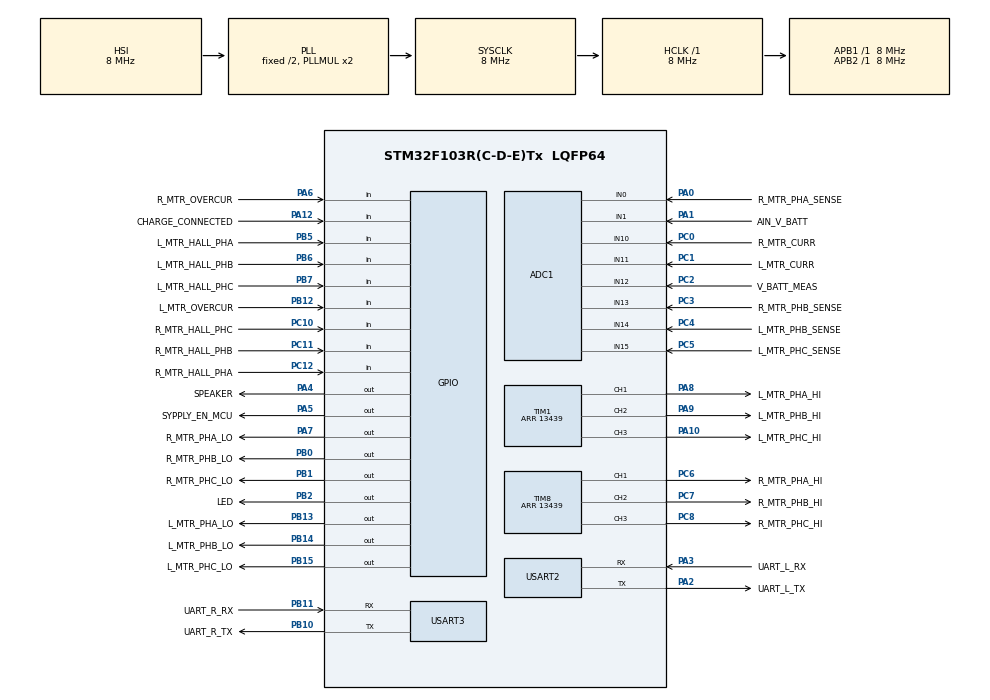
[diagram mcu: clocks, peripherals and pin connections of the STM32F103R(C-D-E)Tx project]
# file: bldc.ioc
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ADC1.Channel-3\#ChannelRegularConversion=ADC_CHANNEL_12
ADC1.NbrOfConversionFlag=1
ADC1.Rank-3\#ChannelRegularConversion=1
ADC1.SamplingTime-3\#ChannelRegularConversion=ADC_SAMPLETIME_239CYCLES_5
ADC1.master=1
Dma.ADC1.0.Direction=DMA_PERIPH_TO_MEMORY
Dma.ADC1.0.Instance=DMA1_Channel1
Dma.ADC1.0.MemDataAlignment=DMA_MDATAALIGN_HALFWORD
Dma.ADC1.0.MemInc=DMA_MINC_ENABLE
Dma.ADC1.0.Mode=DMA_NORMAL
Dma.ADC1.0.PeriphDataAlignment=DMA_PDATAALIGN_HALFWORD
Dma.ADC1.0.PeriphInc=DMA_PINC_DISABLE
Dma.ADC1.0.Priority=DMA_PRIORITY_LOW
Dma.Request0=ADC1
Dma.Request1=USART2_RX
Dma.Request2=USART2_TX
Dma.Request3=USART3_RX
Dma.Request4=USART3_TX
Dma.USART2_RX.1.Direction=DMA_PERIPH_TO_MEMORY
Dma.USART2_RX.1.Instance=DMA1_Channel6
Dma.USART2_RX.1.MemDataAlignment=DMA_MDATAALIGN_BYTE
Dma.USART2_RX.1.MemInc=DMA_MINC_ENABLE
Dma.USART2_RX.1.Mode=DMA_NORMAL
Dma.USART2_RX.1.PeriphDataAlignment=DMA_PDATAALIGN_BYTE
Dma.USART2_RX.1.PeriphInc=DMA_PINC_DISABLE
Dma.USART2_RX.1.Priority=DMA_PRIORITY_MEDIUM
Dma.USART2_TX.2.Direction=DMA_MEMORY_TO_PERIPH
Dma.USART2_TX.2.Instance=DMA1_Channel7
Dma.USART2_TX.2.MemDataAlignment=DMA_MDATAALIGN_BYTE
Dma.USART2_TX.2.MemInc=DMA_MINC_ENABLE
Dma.USART2_TX.2.Mode=DMA_NORMAL
Dma.USART2_TX.2.PeriphDataAlignment=DMA_PDATAALIGN_BYTE
Dma.USART2_TX.2.PeriphInc=DMA_PINC_DISABLE
Dma.USART2_TX.2.Priority=DMA_PRIORITY_MEDIUM
Dma.USART3_RX.3.Direction=DMA_PERIPH_TO_MEMORY
Dma.USART3_RX.3.Instance=DMA1_Channel3
Dma.USART3_RX.3.MemDataAlignment=DMA_MDATAALIGN_BYTE
Dma.USART3_RX.3.MemInc=DMA_MINC_ENABLE
Dma.USART3_RX.3.Mode=DMA_NORMAL
Dma.USART3_RX.3.PeriphDataAlignment=DMA_PDATAALIGN_BYTE
Dma.USART3_RX.3.PeriphInc=DMA_PINC_DISABLE
Dma.USART3_RX.3.Priority=DMA_PRIORITY_MEDIUM
Dma.USART3_TX.4.Direction=DMA_MEMORY_TO_PERIPH
Dma.USART3_TX.4.Instance=DMA1_Channel2
Dma.USART3_TX.4.MemDataAlignment=DMA_MDATAALIGN_BYTE
Dma.USART3_TX.4.MemInc=DMA_MINC_ENABLE
Dma.USART3_TX.4.Mode=DMA_NORMAL
Dma.USART3_TX.4.PeriphDataAlignment=DMA_PDATAALIGN_BYTE
Dma.USART3_TX.4.PeriphInc=DMA_PINC_DISABLE
Dma.USART3_TX.4.Priority=DMA_PRIORITY_MEDIUM
Mcu.Family=STM32F1
Mcu.Name=STM32F103R(C-D-E)Tx
Mcu.Package=LQFP64
NVIC.DMA1_Channel1_IRQn=true\:0\:0\:false\:false\:true\:false\:true\:true
NVIC.DMA1_Channel2_IRQn=true\:0\:0\:false\:false\:true\:false\:true\:true
NVIC.DMA1_Channel3_IRQn=true\:0\:0\:false\:false\:true\:false\:true\:true
NVIC.DMA1_Channel6_IRQn=true\:0\:0\:false\:false\:true\:false\:true\:true
NVIC.DMA1_Channel7_IRQn=true\:0\:0\:false\:false\:true\:false\:true\:true
NVIC.PriorityGroup=NVIC_PRIORITYGROUP_4
NVIC.TIM1_UP_IRQn=true\:1\:0\:true\:false\:true\:true\:true\:true
NVIC.TIM8_UP_IRQn=true\:1\:0\:true\:false\:true\:true\:true\:true
NVIC.USART2_IRQn=true\:0\:0\:false\:false\:true\:true\:true\:true
NVIC.USART3_IRQn=true\:0\:0\:false\:false\:true\:true\:true\:true
PA0-WKUP.GPIO_Label=R_MTR_PHA_SENSE
PA0-WKUP.Signal=ADCx_IN0
PA1.GPIO_Label=AIN_V_BATT
PA1.Signal=ADCx_IN1
PA10.GPIO_Label=L_MTR_PHC_HI
PA10.Signal=S_TIM1_CH3
PA12.GPIO_Label=CHARGE_CONNECTED
PA12.Signal=GPIO_Input
PA13.Mode=Serial_Wire
PA13.Signal=SYS_JTMS-SWDIO
PA14.Mode=Serial_Wire
PA14.Signal=SYS_JTCK-SWCLK
PA2.GPIO_Label=UART_L_TX
PA2.Mode=Asynchronous
PA2.Signal=USART2_TX
PA3.GPIO_Label=UART_L_RX
PA3.Mode=Asynchronous
PA3.Signal=USART2_RX
PA4.GPIO_Label=SPEAKER
PA4.Signal=GPIO_Output
PA5.GPIO_Label=SYPPLY_EN_MCU
PA5.Signal=GPIO_Output
PA6.GPIO_Label=R_MTR_OVERCUR
PA6.Signal=GPIO_Input
PA7.GPIO_Label=R_MTR_PHA_LO
PA7.PinState=GPIO_PIN_SET
PA7.Signal=GPIO_Output
PA8.GPIO_Label=L_MTR_PHA_HI
PA8.Signal=S_TIM1_CH1
PA9.GPIO_Label=L_MTR_PHB_HI
PA9.Signal=S_TIM1_CH2
PB0.GPIO_Label=R_MTR_PHB_LO
PB0.PinState=GPIO_PIN_SET
PB0.Signal=GPIO_Output
PB1.GPIO_Label=R_MTR_PHC_LO
PB1.PinState=GPIO_PIN_SET
PB1.Signal=GPIO_Output
PB10.GPIO_Label=UART_R_TX
PB10.Mode=Asynchronous
PB10.Signal=USART3_TX
PB11.GPIO_Label=UART_R_RX
PB11.Mode=Asynchronous
PB11.Signal=USART3_RX
PB12.GPIO_Label=L_MTR_OVERCUR
PB12.Signal=GPIO_Input
PB13.GPIO_Label=L_MTR_PHA_LO
PB13.PinState=GPIO_PIN_SET
PB13.Signal=GPIO_Output
PB14.GPIO_Label=L_MTR_PHB_LO
PB14.PinState=GPIO_PIN_SET
PB14.Signal=GPIO_Output
PB15.GPIO_Label=L_MTR_PHC_LO
PB15.PinState=GPIO_PIN_SET
PB15.Signal=GPIO_Output
PB2.GPIO_Label=LED
PB2.PinState=GPIO_PIN_SET
PB2.Signal=GPIO_Output
PB5.GPIO_Label=L_MTR_HALL_PHA
PB5.Signal=GPIO_Input
PB6.GPIO_Label=L_MTR_HALL_PHB
PB6.Signal=GPIO_Input
PB7.GPIO_Label=L_MTR_HALL_PHC
PB7.Signal=GPIO_Input
PC0.GPIO_Label=R_MTR_CURR
PC0.Signal=ADCx_IN10
PC1.GPIO_Label=L_MTR_CURR
PC1.Signal=ADCx_IN11
PC10.GPIO_Label=R_MTR_HALL_PHC
PC10.Signal=GPIO_Input
PC11.GPIO_Label=R_MTR_HALL_PHB
PC11.Signal=GPIO_Input
PC12.GPIO_Label=R_MTR_HALL_PHA
PC12.Signal=GPIO_Input
PC2.GPIO_Label=V_BATT_MEAS
PC2.Signal=ADCx_IN12
PC3.GPIO_Label=R_MTR_PHB_SENSE
PC3.Signal=ADCx_IN13
PC4.GPIO_Label=L_MTR_PHB_SENSE
PC4.Signal=ADCx_IN14
PC5.GPIO_Label=L_MTR_PHC_SENSE
PC5.Signal=ADCx_IN15
PC6.GPIO_Label=R_MTR_PHA_HI
PC6.Signal=S_TIM8_CH1
PC7.GPIO_Label=R_MTR_PHB_HI
PC7.Signal=S_TIM8_CH2
PC8.GPIO_Label=R_MTR_PHC_HI
PC8.Signal=S_TIM8_CH3
ProjectManager.HeapSize=0x200
ProjectManager.StackSize=0x400
ProjectManager.TargetToolchain=STM32CubeIDE
RCC.AHBFreq_Value=8000000
RCC.APB1Freq_Value=8000000
RCC.APB1TimFreq_Value=8000000
RCC.APB2Freq_Value=8000000
RCC.APB2TimFreq_Value=8000000
RCC.HCLKFreq_Value=8000000
RCC.SYSCLKFreq_VALUE=8000000
RCC.SYSCLKSource=RCC_SYSCLKSOURCE_PLLCLK
RCC.USBFreq_Value=8000000
SH.ADCx_IN0.0=ADC1_IN0,IN0
SH.ADCx_IN1.0=ADC1_IN1,IN1
SH.ADCx_IN10.0=ADC1_IN10,IN10
SH.ADCx_IN11.0=ADC1_IN11,IN11
SH.ADCx_IN12.0=ADC1_IN12,IN12
SH.ADCx_IN13.0=ADC1_IN13,IN13
SH.ADCx_IN14.0=ADC1_IN14,IN14
SH.ADCx_IN15.0=ADC1_IN15,IN15
SH.S_TIM1_CH1.0=TIM1_CH1,PWM Generation1 CH1
SH.S_TIM1_CH2.0=TIM1_CH2,PWM Generation2 CH2
SH.S_TIM1_CH3.0=TIM1_CH3,PWM Generation3 CH3
SH.S_TIM8_CH1.0=TIM8_CH1,PWM Generation1 CH1
SH.S_TIM8_CH2.0=TIM8_CH2,PWM Generation2 CH2
SH.S_TIM8_CH3.0=TIM8_CH3,PWM Generation3 CH3
TIM1.Channel-PWM\ Generation1\ CH1=TIM_CHANNEL_1
TIM1.Channel-PWM\ Generation2\ CH2=TIM_CHANNEL_2
TIM1.Channel-PWM\ Generation3\ CH3=TIM_CHANNEL_3
TIM1.Period=13439
TIM8.Channel-PWM\ Generation1\ CH1=TIM_CHANNEL_1
TIM8.Channel-PWM\ Generation2\ CH2=TIM_CHANNEL_2
TIM8.Channel-PWM\ Generation3\ CH3=TIM_CHANNEL_3
TIM8.Period=13439
USART2.VirtualMode=VM_ASYNC
USART3.VirtualMode=VM_ASYNC
VP_TIM1_VS_ClockSourceINT.Mode=Internal
VP_TIM8_VS_ClockSourceINT.Mode=Internal
board=custom

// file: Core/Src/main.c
/* USER CODE BEGIN Header */
/**
  ******************************************************************************
  * @file           : main.c
  * @brief          : Main program body
  ******************************************************************************
  * @attention
  *
  * Copyright (c) 2023 STMicroelectronics.
  * All rights reserved.
  *
  * This software is licensed under terms that can be found in the LICENSE file
  * in the root directory of this software component.
  * If no LICENSE file comes with this software, it is provided AS-IS.
  *
  ******************************************************************************
  */
/* USER CODE END Header */
#include "main.h"
#include "adc.h"
#include "dma.h"
#include "tim.h"
#include "usart.h"
#include "gpio.h"

/* USER CODE BEGIN PV */
uint8_t UART2_rxBuffer[8] = {0};
/* USER CODE END PV */

void SystemClock_Config(void);

/* USER CODE BEGIN 0 */
extern int throttle_R;
extern int throttle_L;

/* USER CODE END 0 */

int main(void)
{

  /* MCU Configuration--------------------------------------------------------*/

  /* Reset of all peripherals, Initializes the Flash interface and the Systick. */
  HAL_Init();

  /* Configure the system clock */
  SystemClock_Config();

  /* Initialize all configured peripherals */
  MX_GPIO_Init();
  MX_DMA_Init();
  MX_TIM1_Init();
  MX_TIM8_Init();
  MX_ADC1_Init();
  MX_USART2_UART_Init();
  MX_USART3_UART_Init();
  /* USER CODE BEGIN 2 */
    HAL_TIM_Base_Start_IT(&htim1);
    HAL_TIM_PWM_Start(&htim1, TIM_CHANNEL_1);
    HAL_TIM_PWM_Start(&htim1, TIM_CHANNEL_2);
    HAL_TIM_PWM_Start(&htim1, TIM_CHANNEL_3);

    HAL_TIM_Base_Start_IT(&htim8);
    HAL_TIM_PWM_Start(&htim8, TIM_CHANNEL_1);
    HAL_TIM_PWM_Start(&htim8, TIM_CHANNEL_2);
    HAL_TIM_PWM_Start(&htim8, TIM_CHANNEL_3);

    HAL_UART_Receive_DMA(&huart3, UART2_rxBuffer, sizeof(UART2_rxBuffer));
    HAL_UART_Receive_DMA(&huart2, UART2_rxBuffer, sizeof(UART2_rxBuffer));
  /* USER CODE END 2 */

  /* Infinite loop */
  /* USER CODE BEGIN WHILE */
    HAL_Delay(100);

    while (1) {

        for (int i = 100; i < 2500; i++){
            throttle_R = i;
            throttle_L = i;
            HAL_Delay(1);
        }
        for (int i = 2500; i > 0 ; i--){
            throttle_R = i;
            throttle_L = i;
            HAL_Delay(1);
        }

    /* USER CODE END WHILE */

    }
}

void SystemClock_Config(void)
{
  RCC_OscInitTypeDef RCC_OscInitStruct = {0};
  RCC_ClkInitTypeDef RCC_ClkInitStruct = {0};
  RCC_PeriphCLKInitTypeDef PeriphClkInit = {0};

  /** Initializes the RCC Oscillators according to the specified parameters
  * in the RCC_OscInitTypeDef structure.
  */
  RCC_OscInitStruct.OscillatorType = RCC_OSCILLATORTYPE_HSI;
  RCC_OscInitStruct.HSIState = RCC_HSI_ON;
  RCC_OscInitStruct.HSICalibrationValue = RCC_HSICALIBRATION_DEFAULT;
  RCC_OscInitStruct.PLL.PLLState = RCC_PLL_ON;
  RCC_OscInitStruct.PLL.PLLSource = RCC_PLLSOURCE_HSI_DIV2;
  RCC_OscInitStruct.PLL.PLLMUL = RCC_PLL_MUL2;
  if (HAL_RCC_OscConfig(&RCC_OscInitStruct) != HAL_OK)
  {
    Error_Handler();
  }

  /** Initializes the CPU, AHB and APB buses clocks
  */
  RCC_ClkInitStruct.ClockType = RCC_CLOCKTYPE_HCLK|RCC_CLOCKTYPE_SYSCLK
                              |RCC_CLOCKTYPE_PCLK1|RCC_CLOCKTYPE_PCLK2;
  RCC_ClkInitStruct.SYSCLKSource = RCC_SYSCLKSOURCE_PLLCLK;
  RCC_ClkInitStruct.AHBCLKDivider = RCC_SYSCLK_DIV1;
  RCC_ClkInitStruct.APB1CLKDivider = RCC_HCLK_DIV1;
  RCC_ClkInitStruct.APB2CLKDivider = RCC_HCLK_DIV1;

  if (HAL_RCC_ClockConfig(&RCC_ClkInitStruct, FLASH_LATENCY_0) != HAL_OK)
  {
    Error_Handler();
  }
  PeriphClkInit.PeriphClockSelection = RCC_PERIPHCLK_ADC;
  PeriphClkInit.AdcClockSelection = RCC_ADCPCLK2_DIV2;
  if (HAL_RCCEx_PeriphCLKConfig(&PeriphClkInit) != HAL_OK)
  {
    Error_Handler();
  }
}

void Error_Handler(void)
{
    __disable_irq();
    while (1) {
    }
}
